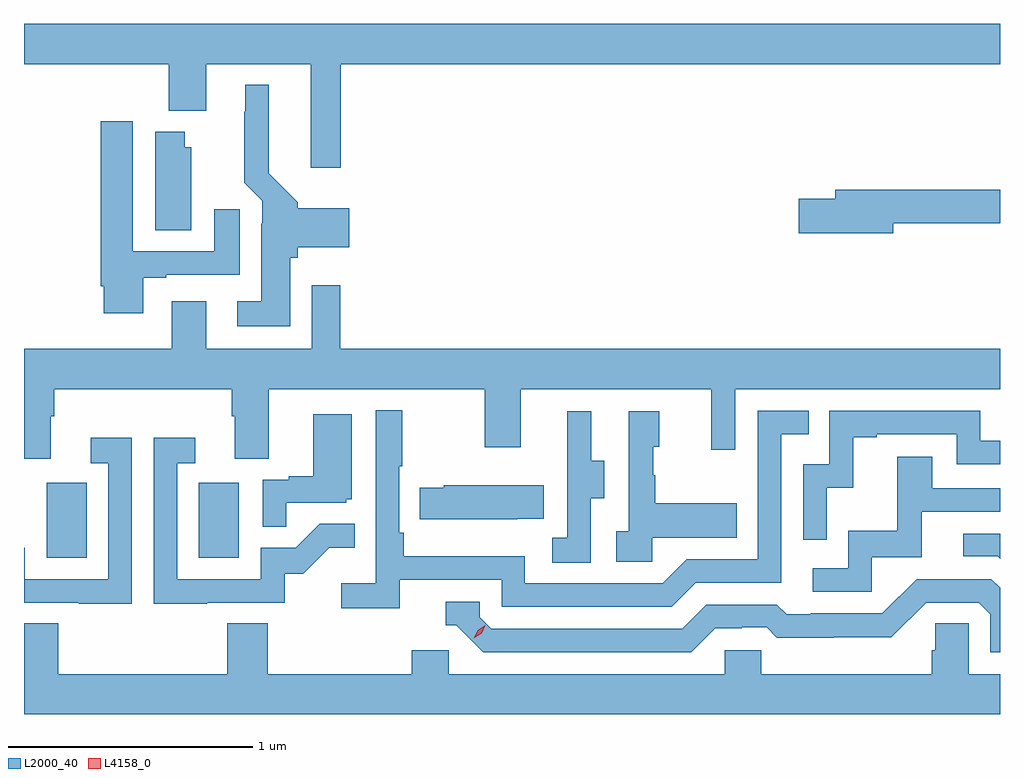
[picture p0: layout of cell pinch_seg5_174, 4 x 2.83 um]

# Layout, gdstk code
import gdstk
lib = gdstk.Library(unit=1e-6, precision=1e-09)
def R(c, l, rs):  # rectangles x0, y0, x1, y1
    for r in rs: c.add(gdstk.rectangle(r[:2], r[2:], *l))
def P(c, l, *ps):  # polygons
    for p in ps: c.add(gdstk.Polygon(p, *l))
L2000_40 = (2000, 40)
L4158_0 = (4158, 0)

pinch_seg5_174 = lib.new_cell('pinch_seg5_174')
R(pinch_seg5_174, L2000_40, [(1114.634,882.708,1114.798,883.015), (1115.258,882.708,1115.422,883.015)])
P(pinch_seg5_174, L2000_40, [(1115.84,884.732),(1118.541,884.732),(1118.541,884.896),(1114.541,884.896),(1114.541,884.732),(1115.135,884.732),(1115.135,884.54),(1115.287,884.54),(1115.287,884.732),(1115.717,884.732),(1115.717,884.307),(1115.84,884.307)],
  [(1115.632,883.938),(1115.663,883.938),(1115.663,883.982),(1115.875,883.982),(1115.875,884.14),(1115.663,884.14),(1115.663,884.166),(1115.545,884.284),(1115.545,884.647),(1115.447,884.647),(1115.447,884.537),(1115.443,884.537),(1115.443,884.246),(1115.517,884.172),(1115.517,884.078),(1115.513,884.078),(1115.513,883.759),(1115.415,883.759),(1115.415,883.658),(1115.632,883.658)],
  [(1115.029,883.857),(1115.125,883.857),(1115.125,883.869),(1115.425,883.869),(1115.425,884.137),(1115.321,884.137),(1115.321,883.965),(1114.987,883.965),(1114.987,884.497),(1114.856,884.497),(1114.856,883.822),(1114.868,883.822),(1114.868,883.71),(1115.029,883.71)],
  [(1115.227,884.391),(1115.2,884.391),(1115.2,884.455),(1115.078,884.455),(1115.078,884.05),(1115.227,884.05)],
  [(1118.104,884.08),(1118.541,884.08),(1118.541,884.216),(1117.865,884.216),(1117.865,884.18),(1117.716,884.18),(1117.716,884.038),(1118.104,884.038)],
  [(1114.651,883.288),(1114.664,883.288),(1114.664,883.4),(1115.393,883.4),(1115.393,883.288),(1115.405,883.288),(1115.405,883.114),(1115.545,883.114),(1115.545,883.4),(1116.43,883.4),(1116.43,883.161),(1116.577,883.161),(1116.577,883.4),(1117.358,883.4),(1117.358,883.152),(1117.455,883.152),(1117.455,883.4),(1118.541,883.4),(1118.541,883.564),(1115.837,883.564),(1115.837,883.825),(1115.721,883.825),(1115.721,883.564),(1115.287,883.564),(1115.287,883.759),(1115.147,883.759),(1115.147,883.564),(1114.541,883.564),(1114.541,883.114),(1114.651,883.114)],
  [(1116.08,882.618),(1116.498,882.618),(1116.498,882.507),(1117.195,882.507),(1117.294,882.606),(1117.644,882.606),(1117.644,883.215),(1117.757,883.215),(1117.757,883.311),(1117.548,883.311),(1117.548,882.702),(1117.257,882.702),(1117.158,882.603),(1116.594,882.603),(1116.594,882.715),(1116.098,882.715),(1116.098,882.811),(1116.078,882.811),(1116.078,883.084),(1116.091,883.084),(1116.091,883.312),(1115.982,883.312),(1115.982,882.604),(1115.841,882.604),(1115.841,882.502),(1116.08,882.502)],
  [(1117.83,882.995),(1117.94,882.995),(1117.94,883.203),(1118.035,883.203),(1118.035,883.215),(1118.364,883.215),(1118.364,883.092),(1118.541,883.092),(1118.541,883.188),(1118.46,883.188),(1118.46,883.311),(1117.842,883.311),(1117.842,883.092),(1117.734,883.092),(1117.734,882.783),(1117.83,882.783)],
  [(1116.864,882.952),(1116.919,882.952),(1116.919,883.107),(1116.865,883.107),(1116.865,883.309),(1116.767,883.309),(1116.767,883.095),(1116.768,883.095),(1116.768,882.791),(1116.705,882.791),(1116.705,882.688),(1116.864,882.688)],
  [(1117.116,882.791),(1117.463,882.791),(1117.463,882.931),(1117.129,882.931),(1117.129,883.046),(1117.119,883.046),(1117.119,883.164),(1117.144,883.164),(1117.144,883.309),(1117.02,883.309),(1117.02,882.818),(1116.969,882.818),(1116.969,882.693),(1117.116,882.693)],
  [(1115.615,882.933),(1115.862,882.933),(1115.862,882.948),(1115.884,882.948),(1115.884,883.297),(1115.726,883.297),(1115.726,883.042),(1115.627,883.042),(1115.627,883.029),(1115.52,883.029),(1115.52,882.835),(1115.615,882.835)],
  [(1115.291,882.525),(1115.61,882.525),(1115.61,882.642),(1115.686,882.642),(1115.793,882.749),(1115.897,882.749),(1115.897,882.848),(1115.753,882.848),(1115.655,882.75),(1115.511,882.75),(1115.511,882.621),(1115.169,882.621),(1115.169,883.095),(1115.242,883.095),(1115.242,883.201),(1115.073,883.201),(1115.073,882.52),(1115.291,882.52)],
  [(1114.983,883.201),(1114.815,883.201),(1114.815,883.095),(1114.887,883.095),(1114.887,882.621),(1114.545,882.621),(1114.545,882.75),(1114.541,882.75),(1114.541,882.525),(1114.765,882.525),(1114.765,882.52),(1114.983,882.52)],
  [(1118.016,882.711),(1118.221,882.711),(1118.221,882.897),(1118.541,882.897),(1118.541,882.993),(1118.263,882.993),(1118.263,883.123),(1118.119,883.123),(1118.119,882.82),(1117.92,882.82),(1117.92,882.666),(1117.773,882.666),(1117.773,882.57),(1118.016,882.57)],
  [(1116.563,882.869),(1116.671,882.869),(1116.671,883.006),(1116.261,883.006),(1116.261,882.996),(1116.163,882.996),(1116.163,882.866),(1116.563,882.866)],
  [(1118.541,882.807),(1118.391,882.807),(1118.391,882.714),(1118.532,882.714),(1118.541,882.705)],
  [(1117.375,882.42),(1117.482,882.42),(1117.482,882.423),(1117.585,882.423),(1117.627,882.381),(1117.86,882.381),(1117.86,882.383),(1118.096,882.383),(1118.238,882.525),(1118.454,882.525),(1118.502,882.477),(1118.502,882.321),(1118.541,882.321),(1118.541,882.585),(1118.505,882.621),(1118.199,882.621),(1118.058,882.48),(1117.765,882.48),(1117.765,882.477),(1117.666,882.477),(1117.627,882.516),(1117.338,882.516),(1117.239,882.417),(1116.456,882.417),(1116.408,882.465),(1116.408,882.528),(1116.269,882.528),(1116.269,882.432),(1116.312,882.432),(1116.423,882.321),(1117.276,882.321)],
  [(1118.541,882.232),(1118.412,882.232),(1118.412,882.44),(1118.275,882.44),(1118.275,882.33),(1118.261,882.33),(1118.261,882.232),(1117.563,882.232),(1117.563,882.33),(1117.413,882.33),(1117.413,882.232),(1116.282,882.232),(1116.282,882.33),(1116.131,882.33),(1116.131,882.232),(1115.54,882.232),(1115.54,882.44),(1115.375,882.44),(1115.375,882.232),(1114.682,882.232),(1114.682,882.44),(1114.541,882.44),(1114.541,882.068),(1118.541,882.068)])
P(pinch_seg5_174, L4158_0, [(1116.384,882.379),(1116.384,882.379),(1116.401,882.412),(1116.432,882.431),(1116.432,882.431),(1116.432,882.431),(1116.416,882.398),(1116.385,882.379)])

lib.write_gds('pinch_seg5_174.gds')
